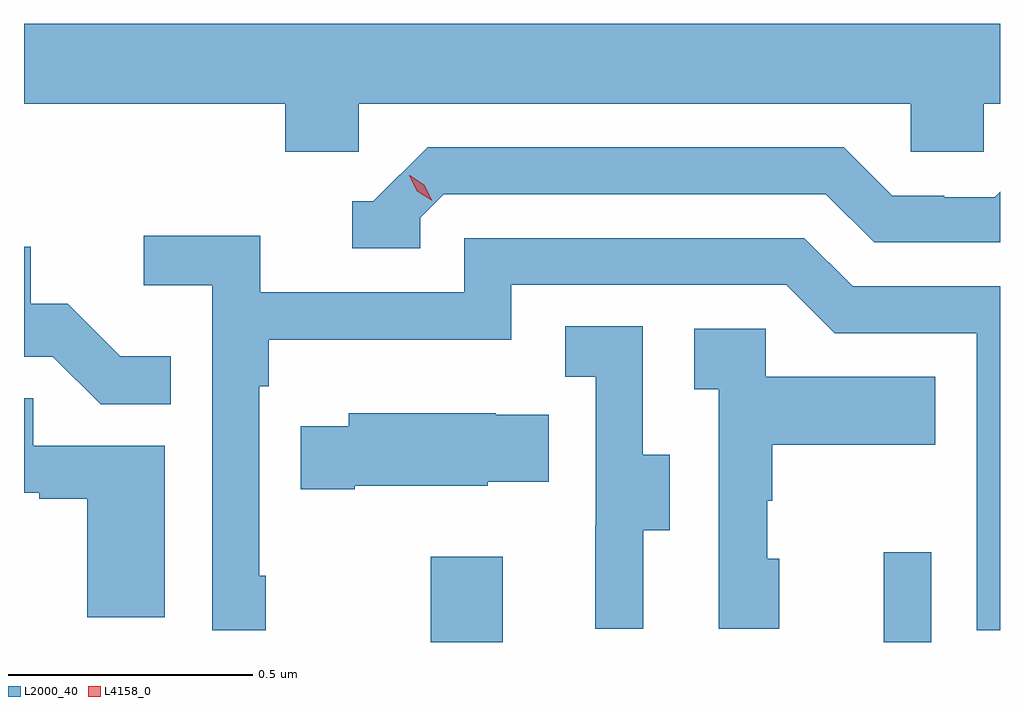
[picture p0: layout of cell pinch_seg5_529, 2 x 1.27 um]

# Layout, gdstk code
import gdstk
lib = gdstk.Library(unit=1e-6, precision=1e-09)
def R(c, l, rs):  # rectangles x0, y0, x1, y1
    for r in rs: c.add(gdstk.rectangle(r[:2], r[2:], *l))
def P(c, l, *ps):  # polygons
    for p in ps: c.add(gdstk.Polygon(p, *l))
L2000_40 = (2000, 40)
L4158_0 = (4158, 0)

pinch_seg5_529 = lib.new_cell('pinch_seg5_529')
R(pinch_seg5_529, L2000_40, [(933.946,833.013,934.093,833.188), (934.874,833.013,934.971,833.197)])
P(pinch_seg5_529, L2000_40, [(933.798,834.116),(934.929,834.116),(934.929,834.018),(935.079,834.018),(935.079,834.116),(935.112,834.116),(935.112,834.28),(933.112,834.28),(933.112,834.116),(933.647,834.116),(933.647,834.018),(933.798,834.018)],
  [(933.924,833.883),(933.972,833.931),(934.755,833.931),(934.854,833.832),(935.112,833.832),(935.112,833.936),(935.101,833.925),(934.998,833.925),(934.998,833.928),(934.891,833.928),(934.792,834.027),(933.939,834.027),(933.828,833.916),(933.785,833.916),(933.785,833.82),(933.924,833.82)],
  [(933.607,833.149),(933.594,833.149),(933.594,833.537),(933.614,833.537),(933.614,833.633),(934.11,833.633),(934.11,833.745),(934.674,833.745),(934.773,833.646),(935.064,833.646),(935.064,833.037),(935.112,833.037),(935.112,833.742),(934.81,833.742),(934.711,833.841),(934.014,833.841),(934.014,833.73),(933.596,833.73),(933.596,833.846),(933.357,833.846),(933.357,833.744),(933.498,833.744),(933.498,833.037),(933.607,833.037)],
  [(933.413,833.599),(933.309,833.599),(933.202,833.706),(933.126,833.706),(933.126,833.823),(933.112,833.823),(933.112,833.598),(933.171,833.598),(933.269,833.5),(933.413,833.5)],
  [(934.381,833.242),(934.435,833.242),(934.435,833.397),(934.38,833.397),(934.38,833.66),(934.221,833.66),(934.221,833.557),(934.284,833.557),(934.284,833.253),(934.283,833.253),(934.283,833.04),(934.381,833.04)],
  [(934.66,833.184),(934.635,833.184),(934.635,833.303),(934.645,833.303),(934.645,833.417),(934.979,833.417),(934.979,833.557),(934.632,833.557),(934.632,833.655),(934.485,833.655),(934.485,833.531),(934.536,833.531),(934.536,833.04),(934.66,833.04)],
  [(933.4,833.415),(933.131,833.415),(933.131,833.513),(933.112,833.513),(933.112,833.319),(933.143,833.319),(933.143,833.307),(933.242,833.307),(933.242,833.064),(933.4,833.064)],
  [(933.79,833.333),(934.062,833.333),(934.062,833.342),(934.187,833.342),(934.187,833.479),(934.079,833.479),(934.079,833.482),(933.777,833.482),(933.777,833.455),(933.679,833.455),(933.679,833.326),(933.79,833.326)])
P(pinch_seg5_529, L4158_0, [(933.949,833.918),(933.918,833.937),(933.901,833.969),(933.901,833.97),(933.902,833.97),(933.932,833.95),(933.949,833.918),(933.949,833.918)])

lib.write_gds('pinch_seg5_529.gds')
